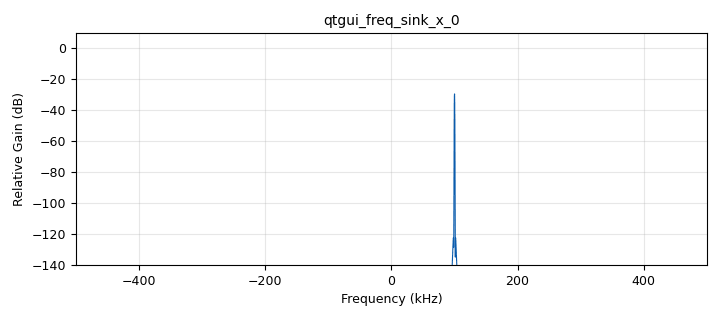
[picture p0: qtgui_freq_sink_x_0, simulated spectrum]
options:
  parameters:
    generate_options: qt_gui
    generator_class_name: PythonQtGuiGenerator
    generator_module: gnuradio.grc.workflows.python_qt_gui
    id: tx_usrp
    output_language: python
    title: Prueba de tono B220
  states: {}

blocks:
- name: amplitude
  id: variable_qtgui_range
  parameters:
    start: '0.1'
    step: '0.01'
    stop: '0.4'
    value: '0.1'
  states: {}
- name: freq_rf
  id: variable
  parameters:
    value: 923e6
  states: {}
- name: freq_tono
  id: variable
  parameters:
    value: 100e3
  states: {}
- name: gain
  id: variable_qtgui_range
  parameters:
    start: '0'
    step: '1'
    stop: '40'
    value: '0'
  states: {}
- name: samp_rate
  id: variable
  parameters:
    value: 1e6
  states: {}
- name: analog_sig_source_x_0
  id: analog_sig_source_x
  parameters:
    amp: amplitude
    freq: freq_tono
    offset: '0'
    phase: '0'
    samp_rate: samp_rate
    type: complex
    waveform: analog.GR_COS_WAVE
  states: {}
- name: qtgui_freq_sink_x_0
  id: qtgui_freq_sink_x
  parameters:
    bw: samp_rate
    fc: '0'
    fftsize: '4096'
    type: complex
  states: {}
- name: uhd_usrp_sink_0
  id: uhd_usrp_sink
  parameters:
    ant0: '"TX/RX"'
    center_freq0: freq_rf
    clock_source0: internal
    gain0: gain
    samp_rate: samp_rate
    stream_chans: '[0]'
    sync: none
    type: fc32
  states: {}

connections:
- [analog_sig_source_x_0, '0', qtgui_freq_sink_x_0, '0']
- [analog_sig_source_x_0, '0', uhd_usrp_sink_0, '0']

metadata:
  file_format: 1
  grc_version: 3.10.12.0
